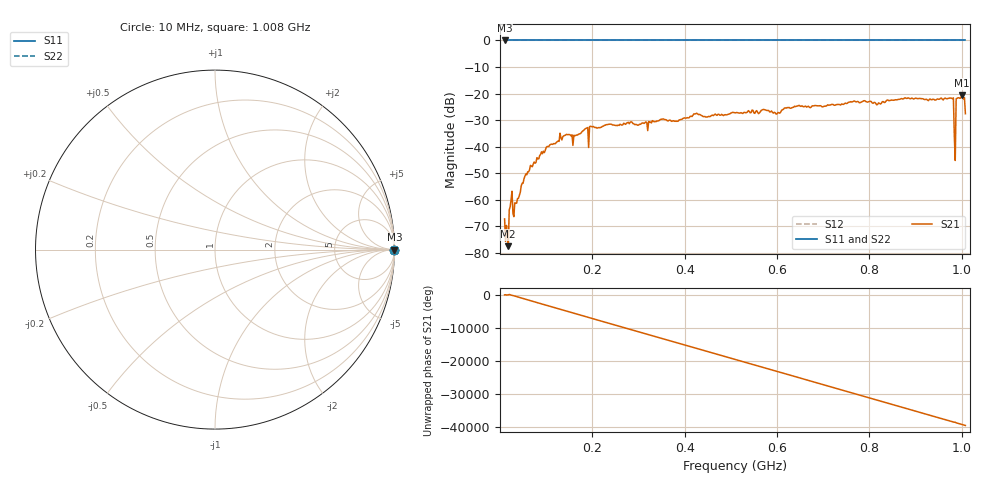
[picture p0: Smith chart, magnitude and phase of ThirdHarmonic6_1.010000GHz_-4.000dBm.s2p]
! 8/16/2025 8:17:45 AM
! C:\ANRITSUVNA\TEMP\TEMP.S2P
! CHANNEL.1
! TR.MEASUREMENT
! RAW.DATA
! RF.CORRECTION.OFF
! AVERAGING.OFF
! IF.BANDWIDTH: 5KHZ
! SWEEPTYPE:  FREQ.SWEEP(Linear)
! Reference Plane Port Info
! PORT:  PORT1  PORT2
! DISTANCE:  0  m  0  m
! TIME:  0  s  0  s
! PHASE.OFFSET:  0  deg.  0  deg.
! LOSS:  0  dB  0  dB
! REF.LOSS:  0  dB  0  dB
! REF.FREQ:  0  Hz  0  Hz
! Power Info
! POWER:  -20  dBm  -20  dBm
! EFF.POWER:  -20  dBm  -20  dBm
! SOURCE.ATTEN:  0  dB  0  dB
! TEST.ATTEN:  0  dB  0  dB
# GHZ S RI R 50.0
! FREQ.GHZ  S11RE  S11IM  S21RE  S21IM  S12RE  S12IM  S22RE  S22IM
!; PortSelection: Port_12
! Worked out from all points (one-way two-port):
!   500 points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, 10 MHz to 1.008 GHz, reference 50 ohm
!   highest |S21| = -20.61 dB at 1 GHz (marker M1); lowest = -77.5 dB at 18 MHz (marker M2)
!   lowest |S11| = 0.0 dB at 10 MHz (marker M3)
!   |S11| at or under -10 dB: nowhere
!   |S22| runs from 0.0 to 0.0 dB; largest |S21 - S12| = 1.1
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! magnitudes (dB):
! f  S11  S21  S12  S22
! 10 MHz  0.0  -67.3  0.0  0.0
! 14 MHz  0.0  -69.7  0.0  0.0
! 18 MHz  0.0  -77.5  0.0  0.0
! 24 MHz  0.0  -60.1  0.0  0.0
! 32 MHz  0.0  -61.2  0.0  0.0
! 52 MHz  0.0  -52.1  0.0  0.0
! 70 MHz  0.0  -47.6  0.0  0.0
! 134 MHz  0.0  -37.5  0.0  0.0
! 178 MHz  0.0  -34.3  0.0  0.0
! 198 MHz  0.0  -32.4  0.0  0.0
! 344 MHz  0.0  -30.2  0.0  0.0
! 510 MHz  0.0  -27.3  0.0  0.0
! 602 MHz  0.0  -27.2  0.0  0.0
! 676 MHz  0.0  -24.7  0.0  0.0
! 842 MHz  0.0  -22.7  0.0  0.0
! 978 MHz  0.0  -21.8  0.0  0.0
! 982 MHz  0.0  -21.6  0.0  0.0
! 984 MHz  0.0  -35.9  0.0  0.0
! 988 MHz  0.0  -22.0  0.0  0.0
! 992 MHz  0.0  -21.6  0.0  0.0
! 1 GHz  0.0  -20.6  0.0  0.0
! 1.008 GHz  0.0  -27.6  0.0  0.0
